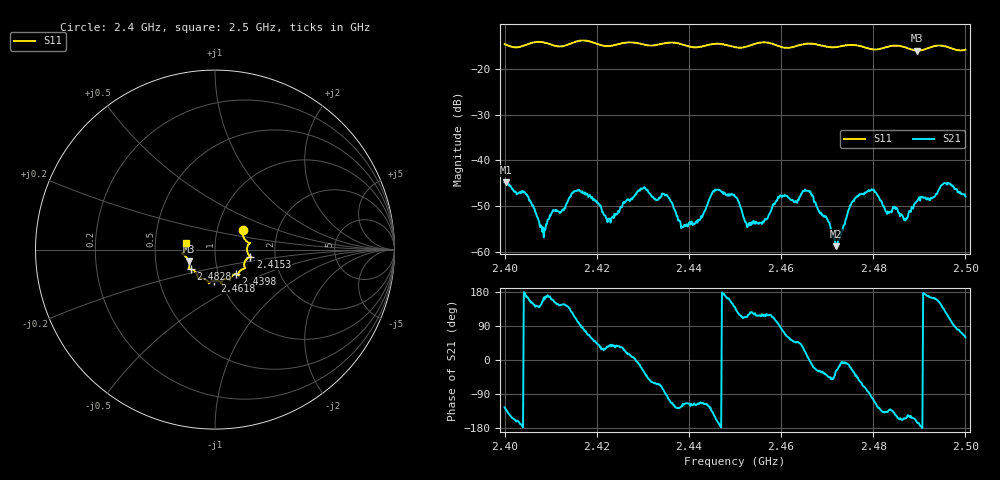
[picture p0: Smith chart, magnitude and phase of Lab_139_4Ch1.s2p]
# Hz S RI R 50
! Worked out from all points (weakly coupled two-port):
!   601 points, 2.4 GHz to 2.5 GHz, reference 50 ohm
!   highest |S21| = -44.76 dB at 2.4003 GHz (marker M1); lowest = -58.8 dB at 2.472 GHz (marker M2)
!   lowest |S11| = -15.9 dB at 2.4895 GHz (marker M3), VSWR 1.38, Z = 37 - j5.03 ohm
!   |S11| at or under -10 dB: start of sweep to end of sweep
!   S12 and S22 are empty: the file has one direction only
!   S11 on the Smith chart (normalised r, x): 2.4 GHz: 1.33, +0.29; 2.4153 GHz: 1.48, -0.12; 2.4398 GHz: 1.21, -0.34; 2.4618 GHz: 0.94, -0.33; 2.4828 GHz: 0.74, -0.17; 2.5 GHz: 0.72, +0.06
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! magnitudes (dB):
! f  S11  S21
! 2.4 GHz  -14.5  -44.8
! 2.4003 GHz  -14.6  -44.8
! 2.4047 GHz  -14.6  -47.5
! 2.4083 GHz  -14.1  -54.7
! 2.4153 GHz  -14.0  -46.7
! 2.4167 GHz  -13.7  -47.0
! 2.4227 GHz  -14.9  -52.8
! 2.43 GHz  -14.5  -46.1
! 2.4333 GHz  -14.6  -48.6
! 2.4398 GHz  -15.0  -54.4
! 2.4457 GHz  -14.4  -46.4
! 2.45 GHz  -15.1  -47.9
! 2.453 GHz  -14.9  -53.7
! 2.4618 GHz  -15.3  -48.3
! 2.4667 GHz  -14.4  -47.7
! 2.472 GHz  -15.1  -58.8
! 2.4768 GHz  -14.8  -47.7
! 2.4828 GHz  -15.2  -51.3
! 2.4833 GHz  -15.0  -51.6
! 2.4895 GHz  -15.9  -48.9
! 2.4957 GHz  -15.0  -45.0
! 2.5 GHz  -15.7  -47.9
